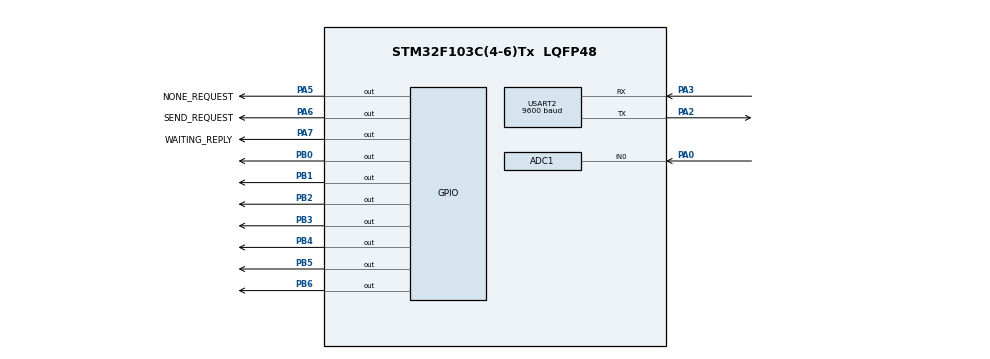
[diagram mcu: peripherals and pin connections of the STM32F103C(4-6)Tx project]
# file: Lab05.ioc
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ADC1.Channel-0\#ChannelRegularConversion=ADC_CHANNEL_0
ADC1.ContinuousConvMode=ENABLE
ADC1.NbrOfConversionFlag=1
ADC1.Rank-0\#ChannelRegularConversion=1
ADC1.SamplingTime-0\#ChannelRegularConversion=ADC_SAMPLETIME_1CYCLE_5
ADC1.master=1
Mcu.Family=STM32F1
Mcu.Name=STM32F103C(4-6)Tx
Mcu.Package=LQFP48
NVIC.PriorityGroup=NVIC_PRIORITYGROUP_4
NVIC.TIM2_IRQn=true\:0\:0\:false\:false\:true\:true\:true
NVIC.USART2_IRQn=true\:0\:0\:false\:false\:true\:true\:true
PA0-WKUP.Signal=ADCx_IN0
PA2.Mode=Asynchronous
PA2.Signal=USART2_TX
PA3.Mode=Asynchronous
PA3.Signal=USART2_RX
PA5.GPIO_Label=NONE_REQUEST
PA5.Signal=GPIO_Output
PA6.GPIO_Label=SEND_REQUEST
PA6.Signal=GPIO_Output
PA7.GPIO_Label=WAITING_REPLY
PA7.Signal=GPIO_Output
PB0.Signal=GPIO_Output
PB1.Signal=GPIO_Output
PB2.Signal=GPIO_Output
PB3.Signal=GPIO_Output
PB4.Signal=GPIO_Output
PB5.Signal=GPIO_Output
PB6.Signal=GPIO_Output
ProjectManager.HeapSize=0x200
ProjectManager.StackSize=0x400
ProjectManager.TargetToolchain=STM32CubeIDE
RCC.APB1Freq_Value=8000000
RCC.APB2Freq_Value=8000000
SH.ADCx_IN0.0=ADC1_IN0,IN0
TIM2.Period=1000
TIM2.Prescaler=7999
USART2.BaudRate=9600
USART2.VirtualMode=VM_ASYNC
VP_SYS_VS_ND.Mode=No_Debug
VP_TIM2_VS_ClockSourceINT.Mode=Internal
board=custom

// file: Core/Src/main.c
/* USER CODE BEGIN Header */
/**
  ******************************************************************************
  * @file           : main.c
  * @brief          : Main program body
  ******************************************************************************
  * @attention
  *
  * <h2><center>&copy; Copyright (c) 2021 STMicroelectronics.
  * All rights reserved.</center></h2>
  *
  * This software component is licensed by ST under BSD 3-Clause license,
  * the "License"; You may not use this file except in compliance with the
  * License. You may obtain a copy of the License at:
  *                        opensource.org/licenses/BSD-3-Clause
  *
  ******************************************************************************
  */
/* USER CODE END Header */
#include "main.h"

/* USER CODE BEGIN Includes */
#include <string.h>
#include <stdio.h>
/* USER CODE END Includes */

ADC_HandleTypeDef hadc1;

TIM_HandleTypeDef htim2;

UART_HandleTypeDef huart2;

void SystemClock_Config(void);
static void MX_GPIO_Init(void);
static void MX_ADC1_Init(void);
static void MX_TIM2_Init(void);
static void MX_USART2_UART_Init(void);

/* USER CODE BEGIN 0 */
#define MAX_BUFFER_SIZE  30
enum State{NONE_REQUEST, SEND_REQUEST, WAITING_REPLY, REPLY, CAN_NOT_SEND, RESEND, INIT, SEND_SUCCESS};
uint8_t state = NONE_REQUEST;
uint8_t pre_state = NONE_REQUEST;
uint8_t input = 0;
uint8_t buffer_input[MAX_BUFFER_SIZE];
uint8_t index_buffer_input = 0;
uint8_t buffer_flag = 0;
uint8_t pre_ADC_value = 0;
uint8_t timeout_flag = 0;
int count = 0;
int timer_counter = 0;
unsigned char timer_flag = 0;
const int TIMER_CIRCLE = 10;
int timer1_counter = 0;
unsigned char timer1_flag = 0;
uint8_t segmentNumber[10] = {
		0x40,  // 0
		0x79,  // 1
		0x24,  // 2
		0x30,  // 3
		0x19,  // 4
		0x12,  // 5
		0x02,  // 6
		0x78,  // 7
		0x00,  // 8
		0x10   // 9
};

void display7SEG(uint8_t number){
	HAL_GPIO_WritePin(GPIOB, GPIO_PIN_0, ((number>>0)&0x01));
	HAL_GPIO_WritePin(GPIOB, GPIO_PIN_1, ((number>>1)&0x01));
	HAL_GPIO_WritePin(GPIOB, GPIO_PIN_2, ((number>>2)&0x01));
	HAL_GPIO_WritePin(GPIOB, GPIO_PIN_3, ((number>>3)&0x01));
	HAL_GPIO_WritePin(GPIOB, GPIO_PIN_4, ((number>>4)&0x01));
	HAL_GPIO_WritePin(GPIOB, GPIO_PIN_5, ((number>>5)&0x01));
	HAL_GPIO_WritePin(GPIOB, GPIO_PIN_6, ((number>>6)&0x01));
}

// make a timer interrupt for fsm
void setTimer(int duration){
	timer_counter = duration/TIMER_CIRCLE;
	timer_flag = 0;
}

void timer_run(){
	timer_counter--;
	if(timer_counter <= 0){
		timer_flag = 1;
	}
}

unsigned char get_timer_flag(){
	return timer_flag;
}

// make a timer interrupt for display time error control
void setTimer1(int duration){
	timer1_counter = duration/TIMER_CIRCLE;
	timer1_flag = 0;
}

void timer1_run(){
	timer1_counter--;
	if(timer1_counter <= 0){
		timer1_flag = 1;
	}
}

// uart call back in stm32
void HAL_UART_RxCpltCallback(UART_HandleTypeDef *huart) {
	if(huart->Instance == USART2) {
		buffer_input[index_buffer_input++] = input;
		if(index_buffer_input == MAX_BUFFER_SIZE) {
			index_buffer_input = 0;
		}
		buffer_flag = 1;
		HAL_UART_Receive_IT(&huart2, &input, 1);
	}
}

// make a function to save the adc value to send again
void get_ADC_value(uint8_t status) {
	//save the previous value
	if(status == CAN_NOT_SEND) {
		uint8_t ADC_value = HAL_ADC_GetValue(&hadc1);
		pre_ADC_value = ADC_value;
	}
	char msg[20];
	HAL_UART_Transmit(&huart2, (void*)msg, sprintf(msg, "!ADC=%d#", pre_ADC_value), HAL_MAX_DELAY);
	// display time
	uint32_t time = HAL_GetTick()/1000;
	HAL_UART_Transmit(&huart2, (void *)msg, sprintf(msg, " -- time: %ld s\n\r", time), HAL_MAX_DELAY);
}

void set_timeout(uint8_t status) {
	if(status == INIT) {
		setTimer(30);
	}
	timeout_flag = 0;
}
// make a fsm machine for read the input
void command_parser_fsm() {
	char request_command[] = "!RST#";
	char reply_command[] = "!OK#";
	uint8_t index = (index_buffer_input - 2 >= 0) ? index_buffer_input - 2 : MAX_BUFFER_SIZE - 2;
	// check if the last input is end line and semi-final input is # then we get 2 case per it
	if(buffer_input[index_buffer_input - 1] == '\r' && buffer_input[index] == '#') {
		switch (buffer_input[index - 1]) {
		case 'T':
			state = SEND_REQUEST;
			for(int i = 2; i < 5; i++) {
				if(buffer_input[index-i] != request_command[4-i]) {
					// check input string with the format request command
					state = pre_state;
					break;
				}
			}
			break;
		case 'K':
			state = REPLY;
			for(int i = 2; i < 4; i++) {
				// check input string with the format reply command
				if(buffer_input[index-i] != reply_command[3-i]) {
					state = pre_state;
					break;
				}
			}
			break;
		default:
			break;
		}
	} else {
		return;
	}
}

//make a fsm uart communication
void uart_communication_fsm () {
	switch (state) {
	case NONE_REQUEST:
		// display led per state
		HAL_GPIO_WritePin(GPIOA, NONE_REQUEST_Pin, 0);
		HAL_GPIO_WritePin(GPIOA, SEND_REQUEST_Pin, 1);
		HAL_GPIO_WritePin(GPIOA, WAITING_REPLY_Pin, 1);
		break;
	case SEND_REQUEST:
		// display led per state and save the pre ADC value if can not send
		HAL_GPIO_WritePin(GPIOA, NONE_REQUEST_Pin, 1);
		HAL_GPIO_WritePin(GPIOA, SEND_REQUEST_Pin, 0);
		HAL_GPIO_WritePin(GPIOA, WAITING_REPLY_Pin, 1);
		get_ADC_value(CAN_NOT_SEND);
		set_timeout(INIT);
		state = WAITING_REPLY;
		break;
	case WAITING_REPLY:
		// display led per state and send again per 3s
		HAL_GPIO_WritePin(GPIOA, NONE_REQUEST_Pin, 1);
		HAL_GPIO_WritePin(GPIOA, SEND_REQUEST_Pin, 1);
		HAL_GPIO_WritePin(GPIOA, WAITING_REPLY_Pin, 0);
		if(get_timer_flag()){
			timeout_flag = 1;
		}
		if(timeout_flag){
			get_ADC_value(RESEND);
			set_timeout(INIT);
		}
		break;
	case REPLY:
		// if get the reply then send success
		set_timeout(SEND_SUCCESS);
		state = NONE_REQUEST;
		break;
	default:
		break;
	}
}
/* USER CODE END 0 */

int main(void)
{

  /* MCU Configuration--------------------------------------------------------*/

  /* Reset of all peripherals, Initializes the Flash interface and the Systick. */
  HAL_Init();

  /* Configure the system clock */
  SystemClock_Config();

  /* Initialize all configured peripherals */
  MX_GPIO_Init();
  MX_ADC1_Init();
  MX_TIM2_Init();
  MX_USART2_UART_Init();
  /* USER CODE BEGIN 2 */
  HAL_UART_Receive_IT(&huart2, &input, 1);
  HAL_TIM_Base_Start_IT(&htim2);
  HAL_ADC_Start(&hadc1);
  /* USER CODE END 2 */

  /* Infinite loop */
  while (1)
  {
	  if(buffer_flag == 1){
		  command_parser_fsm();
		  buffer_flag = 0;
	  }
	  uart_communication_fsm();
	  if(timer1_flag == 1 && state == WAITING_REPLY) {
		  setTimer1(10);
		  switch(count) {
			  case 0:
				  display7SEG(segmentNumber[count]);
				  count = 1;
				  break;
			  case 1:
				  display7SEG(segmentNumber[count]);
				  count = 2;
				  break;
			  case 2:
				  display7SEG(segmentNumber[count]);
				  count = 0;
				  break;
		  }
	  }
  }
}

void SystemClock_Config(void)
{
  RCC_OscInitTypeDef RCC_OscInitStruct = {0};
  RCC_ClkInitTypeDef RCC_ClkInitStruct = {0};
  RCC_PeriphCLKInitTypeDef PeriphClkInit = {0};

  /** Initializes the RCC Oscillators according to the specified parameters
  * in the RCC_OscInitTypeDef structure.
  */
  RCC_OscInitStruct.OscillatorType = RCC_OSCILLATORTYPE_HSI;
  RCC_OscInitStruct.HSIState = RCC_HSI_ON;
  RCC_OscInitStruct.HSICalibrationValue = RCC_HSICALIBRATION_DEFAULT;
  RCC_OscInitStruct.PLL.PLLState = RCC_PLL_NONE;
  if (HAL_RCC_OscConfig(&RCC_OscInitStruct) != HAL_OK)
  {
    Error_Handler();
  }
  /** Initializes the CPU, AHB and APB buses clocks
  */
  RCC_ClkInitStruct.ClockType = RCC_CLOCKTYPE_HCLK|RCC_CLOCKTYPE_SYSCLK
                              |RCC_CLOCKTYPE_PCLK1|RCC_CLOCKTYPE_PCLK2;
  RCC_ClkInitStruct.SYSCLKSource = RCC_SYSCLKSOURCE_HSI;
  RCC_ClkInitStruct.AHBCLKDivider = RCC_SYSCLK_DIV1;
  RCC_ClkInitStruct.APB1CLKDivider = RCC_HCLK_DIV1;
  RCC_ClkInitStruct.APB2CLKDivider = RCC_HCLK_DIV1;

  if (HAL_RCC_ClockConfig(&RCC_ClkInitStruct, FLASH_LATENCY_0) != HAL_OK)
  {
    Error_Handler();
  }
  PeriphClkInit.PeriphClockSelection = RCC_PERIPHCLK_ADC;
  PeriphClkInit.AdcClockSelection = RCC_ADCPCLK2_DIV2;
  if (HAL_RCCEx_PeriphCLKConfig(&PeriphClkInit) != HAL_OK)
  {
    Error_Handler();
  }
}

static void MX_ADC1_Init(void)
{

  ADC_ChannelConfTypeDef sConfig = {0};

  /** Common config
  */
  hadc1.Instance = ADC1;
  hadc1.Init.ScanConvMode = ADC_SCAN_DISABLE;
  hadc1.Init.ContinuousConvMode = ENABLE;
  hadc1.Init.DiscontinuousConvMode = DISABLE;
  hadc1.Init.ExternalTrigConv = ADC_SOFTWARE_START;
  hadc1.Init.DataAlign = ADC_DATAALIGN_RIGHT;
  hadc1.Init.NbrOfConversion = 1;
  if (HAL_ADC_Init(&hadc1) != HAL_OK)
  {
    Error_Handler();
  }
  /** Configure Regular Channel
  */
  sConfig.Channel = ADC_CHANNEL_0;
  sConfig.Rank = ADC_REGULAR_RANK_1;
  sConfig.SamplingTime = ADC_SAMPLETIME_1CYCLE_5;
  if (HAL_ADC_ConfigChannel(&hadc1, &sConfig) != HAL_OK)
  {
    Error_Handler();
  }

}

static void MX_TIM2_Init(void)
{

  TIM_ClockConfigTypeDef sClockSourceConfig = {0};
  TIM_MasterConfigTypeDef sMasterConfig = {0};

  htim2.Instance = TIM2;
  htim2.Init.Prescaler = 7999;
  htim2.Init.CounterMode = TIM_COUNTERMODE_UP;
  htim2.Init.Period = 1000;
  htim2.Init.ClockDivision = TIM_CLOCKDIVISION_DIV1;
  htim2.Init.AutoReloadPreload = TIM_AUTORELOAD_PRELOAD_DISABLE;
  if (HAL_TIM_Base_Init(&htim2) != HAL_OK)
  {
    Error_Handler();
  }
  sClockSourceConfig.ClockSource = TIM_CLOCKSOURCE_INTERNAL;
  if (HAL_TIM_ConfigClockSource(&htim2, &sClockSourceConfig) != HAL_OK)
  {
    Error_Handler();
  }
  sMasterConfig.MasterOutputTrigger = TIM_TRGO_RESET;
  sMasterConfig.MasterSlaveMode = TIM_MASTERSLAVEMODE_DISABLE;
  if (HAL_TIMEx_MasterConfigSynchronization(&htim2, &sMasterConfig) != HAL_OK)
  {
    Error_Handler();
  }

}

static void MX_USART2_UART_Init(void)
{

  huart2.Instance = USART2;
  huart2.Init.BaudRate = 9600;
  huart2.Init.WordLength = UART_WORDLENGTH_8B;
  huart2.Init.StopBits = UART_STOPBITS_1;
  huart2.Init.Parity = UART_PARITY_NONE;
  huart2.Init.Mode = UART_MODE_TX_RX;
  huart2.Init.HwFlowCtl = UART_HWCONTROL_NONE;
  huart2.Init.OverSampling = UART_OVERSAMPLING_16;
  if (HAL_UART_Init(&huart2) != HAL_OK)
  {
    Error_Handler();
  }

}

static void MX_GPIO_Init(void)
{
  GPIO_InitTypeDef GPIO_InitStruct = {0};

  /* GPIO Ports Clock Enable */
  __HAL_RCC_GPIOA_CLK_ENABLE();
  __HAL_RCC_GPIOB_CLK_ENABLE();

  /*Configure GPIO pin Output Level */
  HAL_GPIO_WritePin(GPIOA, NONE_REQUEST_Pin|SEND_REQUEST_Pin|WAITING_REPLY_Pin, GPIO_PIN_RESET);

  /*Configure GPIO pin Output Level */
  HAL_GPIO_WritePin(GPIOB, GPIO_PIN_0|GPIO_PIN_1|GPIO_PIN_2|GPIO_PIN_3
                          |GPIO_PIN_4|GPIO_PIN_5|GPIO_PIN_6, GPIO_PIN_RESET);

  /*Configure GPIO pins : NONE_REQUEST_Pin SEND_REQUEST_Pin WAITING_REPLY_Pin */
  GPIO_InitStruct.Pin = NONE_REQUEST_Pin|SEND_REQUEST_Pin|WAITING_REPLY_Pin;
  GPIO_InitStruct.Mode = GPIO_MODE_OUTPUT_PP;
  GPIO_InitStruct.Pull = GPIO_NOPULL;
  GPIO_InitStruct.Speed = GPIO_SPEED_FREQ_LOW;
  HAL_GPIO_Init(GPIOA, &GPIO_InitStruct);

  /*Configure GPIO pins : PB0 PB1 PB2 PB3
                           PB4 PB5 PB6 */
  GPIO_InitStruct.Pin = GPIO_PIN_0|GPIO_PIN_1|GPIO_PIN_2|GPIO_PIN_3
                          |GPIO_PIN_4|GPIO_PIN_5|GPIO_PIN_6;
  GPIO_InitStruct.Mode = GPIO_MODE_OUTPUT_PP;
  GPIO_InitStruct.Pull = GPIO_NOPULL;
  GPIO_InitStruct.Speed = GPIO_SPEED_FREQ_LOW;
  HAL_GPIO_Init(GPIOB, &GPIO_InitStruct);

}

/* USER CODE BEGIN 4 */
void HAL_TIM_PeriodElapsedCallback(TIM_HandleTypeDef *htim) {
	if(htim->Instance == TIM2){
		timer_run();
		timer1_run();
	}
}
/* USER CODE END 4 */

void Error_Handler(void)
{
  __disable_irq();
  while (1)
  {
  }
}

/************************ (C) COPYRIGHT STMicroelectronics *****END OF FILE****/
